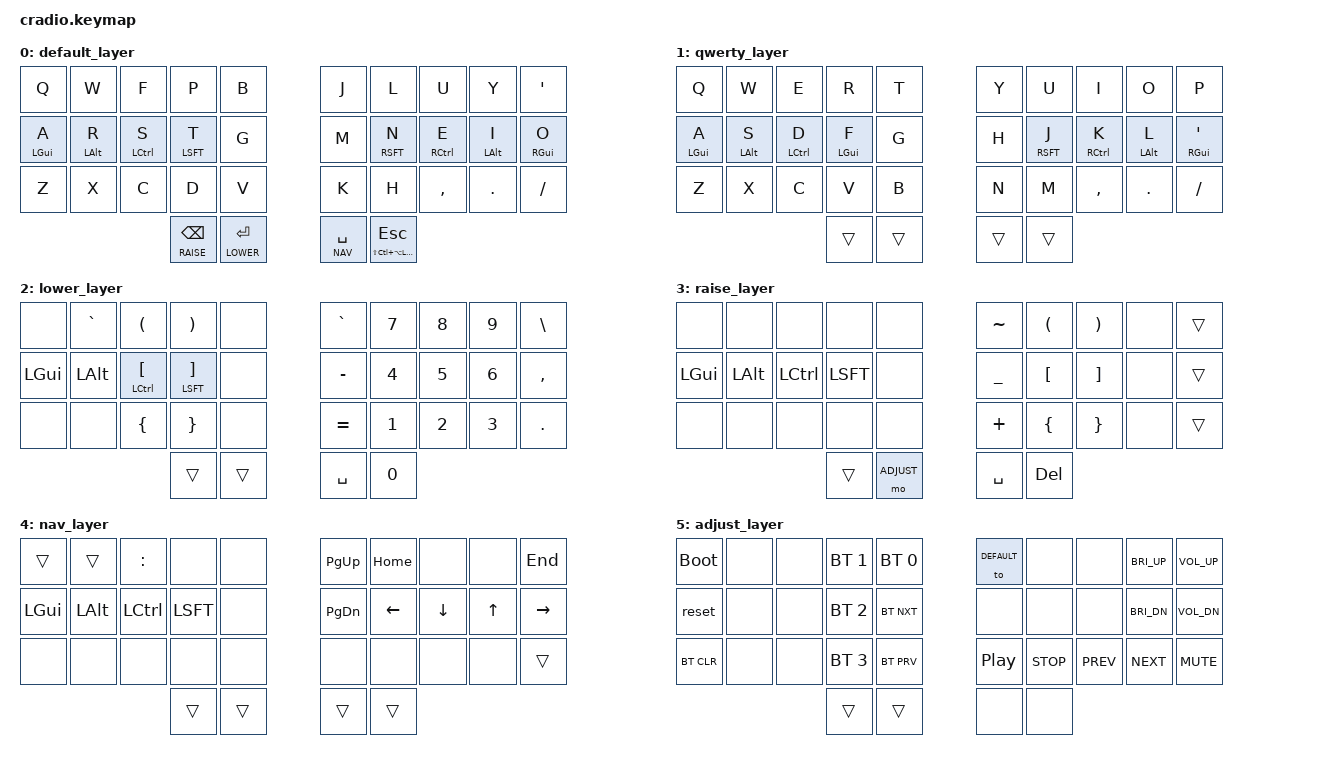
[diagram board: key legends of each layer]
/*
 * Copyright (c) 2021 The ZMK Contributors
 *
 * SPDX-License-Identifier: MIT
 */

#include <behaviors.dtsi>
#include <dt-bindings/zmk/keys.h>
#include <dt-bindings/zmk/bt.h>

#define DEFAULT 0
#define QWERTY 1
#define LOWER 2
#define RAISE 3
#define NAV 4
#define ADJUST 5

&caps_word {
    continue-list = <UNDERSCORE MINUS>;
};

&kscan0 {
    input-gpios
    = <&pro_micro  6 (GPIO_ACTIVE_LOW | GPIO_PULL_UP)>
    , <&pro_micro  0 (GPIO_ACTIVE_LOW | GPIO_PULL_UP)>
    , <&pro_micro 18 (GPIO_ACTIVE_LOW | GPIO_PULL_UP)>
    , <&pro_micro 19 (GPIO_ACTIVE_LOW | GPIO_PULL_UP)>
    , <&pro_micro 20 (GPIO_ACTIVE_LOW | GPIO_PULL_UP)>
    , <&pro_micro 21 (GPIO_ACTIVE_LOW | GPIO_PULL_UP)>
    , <&pro_micro 15 (GPIO_ACTIVE_LOW | GPIO_PULL_UP)>
    , <&pro_micro 14 (GPIO_ACTIVE_LOW | GPIO_PULL_UP)>
    , <&pro_micro 16 (GPIO_ACTIVE_LOW | GPIO_PULL_UP)>
    , <&pro_micro 10 (GPIO_ACTIVE_LOW | GPIO_PULL_UP)>
    , <&pro_micro  1 (GPIO_ACTIVE_LOW | GPIO_PULL_UP)>
    , <&pro_micro  2 (GPIO_ACTIVE_LOW | GPIO_PULL_UP)>
    , <&pro_micro  3 (GPIO_ACTIVE_LOW | GPIO_PULL_UP)>
    , <&pro_micro  4 (GPIO_ACTIVE_LOW | GPIO_PULL_UP)>
    , <&pro_micro  5 (GPIO_ACTIVE_LOW | GPIO_PULL_UP)>
    , <&pro_micro  8 (GPIO_ACTIVE_LOW | GPIO_PULL_UP)>
    , <&pro_micro  9 (GPIO_ACTIVE_LOW | GPIO_PULL_UP)>
    ;
};

/ {
    /* Adjusted Cradio pin arrangement */
    /* The position of Q and B keys have been swapped */
    behaviors {
        hm: homerow_mods {
            compatible = "zmk,behavior-hold-tap";
            label = "HOMEROW_MODS";
            #binding-cells = <2>;
            tapping-term-ms = <125>;
            quick_tap_ms = <0>;
            flavor = "tap-preferred";
            bindings = <&kp>, <&kp>;
        };
    };

    /* KEY POSITIONS
    -- from https://github.com/caksoylar/zmk-config/blob/main/config/combos.dtsi

    ╭────────────────────╮ ╭────────────────────╮
    │  0   1   2   3   4 │ │  5   6   7   8   9 │
    │ 10  11  12  13  14 │ │ 15  16  17  18  19 │
    │ 20  21  22  23  24 │ │ 25  26  27  28  29 │
    ╰───────────╮ 30  31 │ │ 32  33 ╭───────────╯
                ╰────────╯ ╰────────╯
    */
    combos {
        compatible = "zmk,combos";
        combo_semicolon {
            timeout-ms = <40>;
            key-positions = <6 7>;
            bindings = <&kp SEMI>;
        };
        combo_tab {
            timeout-ms = <40>;
            key-positions = <26 27>;
            bindings = <&kp TAB>;
        };
        combo_capslock {
            timeout-ms = <40>;
            key-positions = <5 15>;
            bindings = <&caps_word>;
        };
    };

    conditional_layers {
        compatible = "zmk,conditional-layers";
        tri_layer {
            if-layers = <2 3>;
            then-layer = <5>;
        };
    };

    keymap {
        compatible = "zmk,keymap";
// -----------------------------------------------------------------------------------------
// |       |       |       |       |       | ----- |       |       |       |       |       |
// |       |       |       |       |       | ----- |       |       |       |       |       |
// |       |       |       |       |       | ----- |       |       |       |       |       |
//                         |       |       | ----- |       |       |

// -----------------------------------------------------------------------------------------
// |   Q   |   W   |   F   |   P   |   B   | ----- |   J   |   L   |   U   |   Y   |  ' "  |
// |   A   |   R   |   S   |   T   |   G   | ----- |   M   |   N   |   E   |   I   |   O   |
// |   R   |   X   |   C   |   D   |   V   | ----- |   K   |   H   |  , <  |  . >  |  / ?  |
//                         |LOW_TAB|RAI_ENT| ----- |NAV_SPC| HY_ESC|
        default_layer {
            bindings = <
&kp Q       &kp W       &kp F       &kp P       &kp B       &kp J   &kp L       &kp U       &kp Y       &kp APOS
&hm LGUI A  &hm LALT R  &hm LCTL S  &hm LSFT T  &kp G       &kp M   &hm RSFT N  &hm RCTL E  &hm LALT I  &hm RGUI O
&kp Z       &kp X       &kp C       &kp D       &kp V       &kp K   &kp H       &kp COMMA   &kp DOT     &kp FSLH
                &lt RAISE BSPC &lt LOWER ENTER  &lt NAV SPACE &mt LS(LC(LA(LGUI))) ESC
            >;
        };

// -----------------------------------------------------------------------------------------
// |   Q   |   W   |   E   |   R   |   T   | ----- |   Y   |   U   |   I   |   O   |   P   |
// |   A   |   X   |   D   |   F   |   G   | ----- |   H   |   J   |   K   |   L   |  ' "  |
// |   Z   |   X   |   C   |   V   |   B   | ----- |   N   |   M   |  , <  |  . >  |  / ?  |
//                         |       |       | ----- |       |       |
        qwerty_layer {
            bindings = <
&kp Q       &kp W       &kp E       &kp R       &kp T       &kp Y   &kp U       &kp I       &kp O       &kp P
&hm LGUI A  &hm LALT S  &hm LCTL D  &hm LGUI F  &kp G       &kp H   &hm RSFT J  &hm RCTL K  &hm LALT L  &hm RGUI QUOT
&kp Z       &kp X       &kp C       &kp V       &kp B       &kp N   &kp M       &kp CMMA    &kp DOT     &kp FSLH
                                    &trans      &trans      &trans  &trans
            >;
        };
// -----------------------------------------------------------------------------------------
// |       |       |       |       |       | ----- |  ` ~  |  7 &  |  8 *  |  9 (  |  \ |  |
// | LGUI  | LALT  | LCTL  | LSFT  |       | ----- |  - _  |  4 _  |  5 %  |  6 ^  |  ; :  |
// |       |       |       |       |       | ----- |  = +  |  1 !  |  2 @  |  3 #  |  , <  |
//                         |       |   .   | ----- |       |   .   |
// NOTE: Consider "&tog LOWER" instead of "&kp GRAVE"
        lower_layer {
            bindings = <
&none       &kp GRAVE &kp LPAR      &kp RPAR      &none       &kp GRAVE   &kp N7  &kp N8  &kp N9  &kp BSLH
&kp LGUI    &kp LALT  &hm LCTL LBKT &hm LSFT RBKT &none       &kp MINUS   &kp N4  &kp N5  &kp N6  &kp CMMA
&none       &none     &kp LBRC      &kp RBRC      &none       &kp EQUAL   &kp N1  &kp N2  &kp N3  &kp DOT
                                    &trans        &trans  &kp SPACE   &kp N0
            >;
        };
// -----------------------------------------------------------------------------------------
// |       |       |       |       |       | ----- |DEFAULT|   (   |   )   |       |       |
// | LGUI  | LALT  | LCTL  | LSFT  |       | ----- |QWERTY |   [   |   ]   |       |       |
// |       |       |       |       |       | ----- |   +   |   {   |   }   |       |       |
//                         |  TAB  |       | ----- | BSPC  |  DEL  |
        raise_layer {
            bindings = <
&none       &none       &none       &none       &none       &kp TILDE   &kp LPAR  &kp RPAR  &none  &trans
&kp LGUI    &kp LALT    &kp LCTL    &kp LSFT    &none       &kp UNDER   &kp LBKT  &kp RBKT  &none  &trans
&none       &none       &none       &none       &none       &kp PLUS    &kp LBRC  &kp RBRC  &none  &trans
                                    &trans  &mo ADJUST      &kp SPACE   &kp DEL
            >;
        };

// -----------------------------------------------------------------------------------------
// |       |       |   :   |       |       | ----- | PG_UP | HOME  |       |       |  END  |
// | LGUI  | LALT  | LCTL  | LSFT  |       | ----- | PG_DN | LEFT  | DOWN  |  UP   | RIGHT |
// |       |       |       |       |       | ----- |       |       |       |       |       |
//                         |  TAB  |       | ----- |       |       |
        nav_layer {
            bindings = <
&trans      &trans      &kp COLON   &none       &none       &kp PG_UP  &kp HOME  &none    &none  &kp END
&kp LGUI    &kp LALT    &kp LCTL    &kp LSFT    &none       &kp PG_DN  &kp LEFT  &kp DOWN &kp UP &kp RIGHT
&none       &none       &none       &none       &none       &none      &none     &none    &none  &trans
                                    &trans      &trans      &trans     &trans
            >;
        };

// -----------------------------------------------------------------------------------------
// | BOOTL |       |       |  BT 1 |  BT O | ----- |DEFAULT|QWERTY |       |  BRIU |  VOLU |
// | RESET |       |       |  BT 2 |BT NXT | ----- |       |       |       |  BRID |  VOLD |
// | BT CLR|       |       |  BT 3 |BT PRV | ----- |  PREV |  NEXT |       |       |  MUTE |
//                         |       |       | ----- |  PLAY |  STOP |
        adjust_layer {
            bindings = <
&bootloader &none  &none  &bt BT_SEL 1  &bt BT_SEL 0     &to DEFAULT &none      &none       &kp C_BRI_UP &kp C_VOL_UP
&reset      &none  &none  &bt BT_SEL 2  &bt BT_NXT       &none       &none      &none       &kp C_BRI_DN &kp C_VOL_DN
&bt BT_CLR  &none  &none  &bt BT_SEL 3  &bt BT_PRV       &kp C_PP    &kp C_STOP &kp C_PREV  &kp C_NEXT   &kp C_MUTE
                        &trans        &trans           &none       &none
            >;
        };
    };
};
